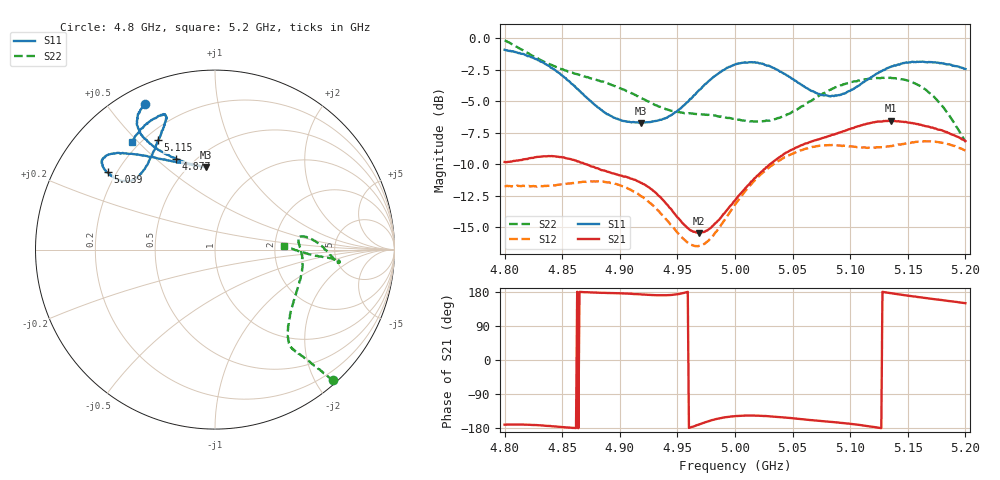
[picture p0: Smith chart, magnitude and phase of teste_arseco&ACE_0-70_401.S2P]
! Network Analyzer HP8722D
! Hewlett-Packard
! Data name: Linha & Wilkinson
! Saver's name: Rodrigo Anjos
! Comments: Teste da utilização de aquisição
! continua pelo VNA HP8722D
! Time and date: 8/5/2025 16:06
!  Frequency  S11  S21  S12  S22
# HZ  S  MA R 50
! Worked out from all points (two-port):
!   401 points, 4.8 GHz to 5.2 GHz, reference 50 ohm
!   highest |S21| = -6.54 dB at 5.135 GHz (marker M1); lowest = -15.5 dB at 4.969 GHz (marker M2)
!   |S21| within 3 dB of the highest: 4.821 GHz to 4.854 GHz (32.97 MHz wide, 0.682 % of centre); 5.037 GHz to end of sweep
!   lowest |S11| = -6.7 dB at 4.918 GHz (marker M3), VSWR 2.71, Z = 30 + j34.9 ohm
!   |S11| at or under -10 dB: nowhere
!   |S22| runs from -8.2 to -0.2 dB; largest |S21 - S12| = 0.83
!   S11 on the Smith chart (normalised r, x): 4.8 GHz: 0.07, +0.63; 4.877 GHz: 0.40, +0.58; 5.039 GHz: 0.17, +0.31; 5.115 GHz: 0.25, +0.58; 5.2 GHz: 0.17, +0.48
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4.8e9  0.9012 115.8  0.3226 -170.6  0.2585 -86.2  0.9815 -47.8
4.832e9  0.8069 122.2  0.3389 -172.6  0.2586 -77.8  0.8176 -49.7
4.846e9  0.7354 122.4  0.3388 -175.8  0.2618 -73.2  0.7659 -50.7
4.867e9  0.6054 117.8  0.3205 179.4  0.2685 -67.9  0.7124 -51.9
4.877e9  0.551 113.1  0.3088 178.0  0.2701 -66.7  0.6901 -52.1
4.9e9  0.4752 100.9  0.2855 176.1  0.2606 -67.2  0.6343 -50.3
4.918e9  0.4613 96.2  0.2666 173.1  0.2365 -69.4  0.5815 -45.0
4.934e9  0.4727 100.0  0.2361 170.7  0.2057 -69.9  0.5352 -36.9
4.958e9  0.5549 116.8  0.1777 178.9  0.1553 -58.7  0.5037 -21.3
4.969e9  0.624 124.2  0.1684 -169.8  0.1498 -46.6  0.5006 -14.7
4.98e9  0.6942 130.1  0.1785 -158.6  0.1623 -34.0  0.4938 -9.2
5e9  0.7882 137.5  0.2268 -148.1  0.2186 -21.5  0.4767 -0.2
5.019e9  0.8018 141.8  0.2841 -147.0  0.2779 -18.8  0.4671 5.8
5.039e9  0.7379 144.2  0.3379 -150.5  0.3277 -19.0  0.4843 8.6
5.067e9  0.6171 142.0  0.39 -158.7  0.3702 -21.3  0.5687 4.1
5.088e9  0.5922 133.1  0.4184 -164.6  0.3759 -24.5  0.6409 -2.5
5.115e9  0.6862 117.5  0.4581 -174.4  0.367 -27.4  0.6896 -6.2
5.134e9  0.7667 111.0  0.4692 176.9  0.3723 -29.5  0.6967 -5.4
5.135e9  0.7704 111.0  0.471 176.5  0.3734 -29.5  0.698 -5.4
5.162e9  0.8076 112.8  0.4523 164.9  0.3897 -36.3  0.6412 -4.3
5.18e9  0.7958 119.1  0.4307 157.9  0.3845 -41.9  0.5379 -3.0
5.2e9  0.7554 127.7  0.3907 149.9  0.3581 -47.3  0.3876 3.3
